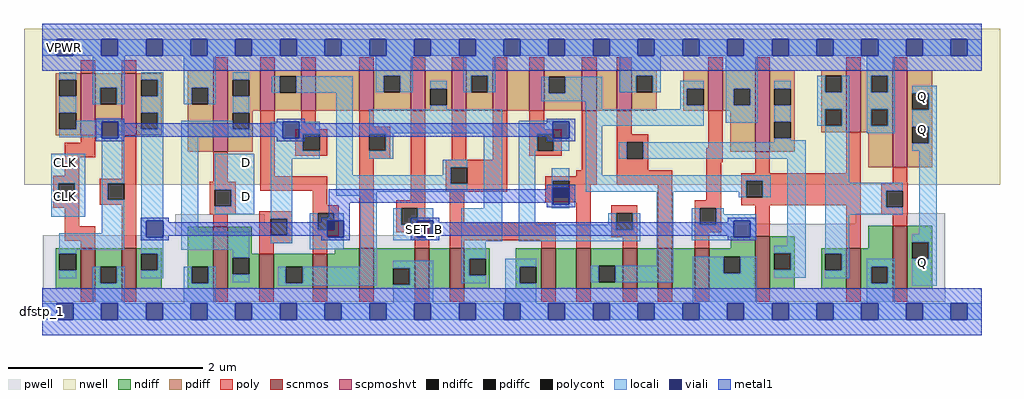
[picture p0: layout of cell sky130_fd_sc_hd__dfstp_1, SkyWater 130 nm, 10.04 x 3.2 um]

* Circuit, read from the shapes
.subckt sky130_fd_sc_hd__dfstp_1 VPWR VGND VPB VNB Q SET_B D CLK
XM1 VGND CLK n1 VNB sky130_fd_pr__nfet_01v8 w=0.42 l=0.15
XM2 n2 n1 VGND VNB sky130_fd_pr__nfet_01v8 w=0.42 l=0.15
XM3 n3 D VGND VNB sky130_fd_pr__nfet_01v8 w=0.64 l=0.15
XM4 n4 n1 n3 VNB sky130_fd_pr__nfet_01v8 w=0.36 l=0.15
XM5 n5 n2 n4 VNB sky130_fd_pr__nfet_01v8 w=0.36 l=0.15
XM6 VGND n6 n5 VNB sky130_fd_pr__nfet_01v8 w=0.42 l=0.15
XM7 n7 SET_B VGND VNB sky130_fd_pr__nfet_01v8 w=0.42 l=0.15
XM8 n6 n4 n7 VNB sky130_fd_pr__nfet_01v8 w=0.42 l=0.15
XM9 n8 n4 VGND VNB sky130_fd_pr__nfet_01v8 w=0.42 l=0.15
XM10 n9 n2 n8 VNB sky130_fd_pr__nfet_01v8 w=0.42 l=0.15
XM11 n10 n1 n9 VNB sky130_fd_pr__nfet_01v8 w=0.42 l=0.15
XM12 n11 n12 n10 VNB sky130_fd_pr__nfet_01v8 w=0.42 l=0.15
XM13 VGND SET_B n11 VNB sky130_fd_pr__nfet_01v8 w=0.42 l=0.15
XM14 n12 n9 VGND VNB sky130_fd_pr__nfet_01v8 w=0.54 l=0.15
XM15 VGND n9 n13 VNB sky130_fd_pr__nfet_01v8 w=0.42 l=0.15
XM16 Q n13 VGND VNB sky130_fd_pr__nfet_01v8 w=0.65 l=0.15
XM17 VPWR CLK n1 VPB sky130_fd_pr__pfet_01v8_hvt w=0.64 l=0.15
XM18 n2 n1 VPWR VPB sky130_fd_pr__pfet_01v8_hvt w=0.64 l=0.15
XM19 n3 D VPWR VPB sky130_fd_pr__pfet_01v8_hvt w=0.84 l=0.15
XM20 n4 n2 n3 VPB sky130_fd_pr__pfet_01v8_hvt w=0.42 l=0.15
XM21 n14 n1 n4 VPB sky130_fd_pr__pfet_01v8_hvt w=0.42 l=0.15
XM22 VPWR n6 n14 VPB sky130_fd_pr__pfet_01v8_hvt w=0.42 l=0.15
XM23 n6 SET_B VPWR VPB sky130_fd_pr__pfet_01v8_hvt w=0.42 l=0.15
XM24 VPWR n4 n6 VPB sky130_fd_pr__pfet_01v8_hvt w=0.42 l=0.15
XM25 n15 n4 VPWR VPB sky130_fd_pr__pfet_01v8_hvt w=0.42 l=0.15
XM26 n9 n1 n15 VPB sky130_fd_pr__pfet_01v8_hvt w=0.42 l=0.15
XM27 n16 n2 n9 VPB sky130_fd_pr__pfet_01v8_hvt w=0.42 l=0.15
XM28 VPWR n12 n16 VPB sky130_fd_pr__pfet_01v8_hvt w=0.42 l=0.15
XM29 VPWR SET_B n9 VPB sky130_fd_pr__pfet_01v8_hvt w=0.42 l=0.15
XM30 n12 n9 VPWR VPB sky130_fd_pr__pfet_01v8_hvt w=0.84 l=0.15
XM31 VPWR n9 n13 VPB sky130_fd_pr__pfet_01v8_hvt w=0.64 l=0.15
XM32 Q n13 VPWR VPB sky130_fd_pr__pfet_01v8_hvt w=1 l=0.15
.ends

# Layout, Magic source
magic
tech sky130B
magscale 1 2
<< nwell >>
rect -38 221 1970 542
<< pwell >>
rect 273 117 457 161
rect 1673 141 1857 163
rect 1390 117 1857 141
rect 1 -19 1857 117
rect 29 -57 63 -19
<< scnmos >>
rect 79 7 109 91
rect 163 7 193 91
rect 351 7 381 135
rect 446 7 476 79
rect 556 7 586 79
rect 652 7 682 91
rect 766 7 796 91
rect 838 7 868 91
rect 1026 7 1056 91
rect 1098 7 1128 91
rect 1194 7 1224 91
rect 1266 7 1296 91
rect 1342 7 1372 91
rect 1466 7 1496 115
rect 1654 7 1684 91
rect 1749 7 1779 137
<< scpmoshvt >>
rect 79 323 109 451
rect 163 323 193 451
rect 351 289 381 457
rect 448 373 478 457
rect 532 373 562 457
rect 652 373 682 457
rect 758 373 788 457
rect 842 373 872 457
rect 926 373 956 457
rect 1002 373 1032 457
rect 1110 373 1140 457
rect 1182 373 1212 457
rect 1370 373 1400 457
rect 1466 289 1496 457
rect 1654 329 1684 457
rect 1749 257 1779 457
<< ndiff >>
rect 27 79 79 91
rect 27 45 35 79
rect 69 45 79 79
rect 27 7 79 45
rect 109 53 163 91
rect 109 19 119 53
rect 153 19 163 53
rect 109 7 163 19
rect 193 79 245 91
rect 193 45 203 79
rect 237 45 245 79
rect 193 7 245 45
rect 299 53 351 135
rect 299 19 307 53
rect 341 19 351 53
rect 299 7 351 19
rect 381 79 431 135
rect 1416 91 1466 115
rect 601 79 652 91
rect 381 71 446 79
rect 381 37 391 71
rect 425 37 446 71
rect 381 7 446 37
rect 476 53 556 79
rect 476 19 501 53
rect 535 19 556 53
rect 476 7 556 19
rect 586 7 652 79
rect 682 49 766 91
rect 682 15 722 49
rect 756 15 766 49
rect 682 7 766 15
rect 796 7 838 91
rect 868 69 920 91
rect 868 35 878 69
rect 912 35 920 69
rect 868 7 920 35
rect 974 53 1026 91
rect 974 19 982 53
rect 1016 19 1026 53
rect 974 7 1026 19
rect 1056 7 1098 91
rect 1128 55 1194 91
rect 1128 21 1144 55
rect 1178 21 1194 55
rect 1128 7 1194 21
rect 1224 7 1266 91
rect 1296 7 1342 91
rect 1372 73 1466 91
rect 1372 39 1402 73
rect 1436 39 1466 73
rect 1372 7 1466 39
rect 1496 80 1548 115
rect 1699 91 1749 137
rect 1496 46 1506 80
rect 1540 46 1548 80
rect 1496 7 1548 46
rect 1602 79 1654 91
rect 1602 45 1610 79
rect 1644 45 1654 79
rect 1602 7 1654 45
rect 1684 53 1749 91
rect 1684 19 1705 53
rect 1739 19 1749 53
rect 1684 7 1749 19
rect 1779 103 1831 137
rect 1779 69 1789 103
rect 1823 69 1831 103
rect 1779 7 1831 69
<< pdiff >>
rect 27 437 79 451
rect 27 403 35 437
rect 69 403 79 437
rect 27 369 79 403
rect 27 335 35 369
rect 69 335 79 369
rect 27 323 79 335
rect 109 421 163 451
rect 109 387 119 421
rect 153 387 163 421
rect 109 323 163 387
rect 193 437 245 451
rect 193 403 203 437
rect 237 403 245 437
rect 193 369 245 403
rect 193 335 203 369
rect 237 335 245 369
rect 193 323 245 335
rect 299 421 351 457
rect 299 387 307 421
rect 341 387 351 421
rect 299 289 351 387
rect 381 437 448 457
rect 381 403 391 437
rect 425 403 448 437
rect 381 373 448 403
rect 478 444 532 457
rect 478 410 488 444
rect 522 410 532 444
rect 478 373 532 410
rect 562 373 652 457
rect 682 445 758 457
rect 682 411 702 445
rect 736 411 758 445
rect 682 373 758 411
rect 788 419 842 457
rect 788 385 798 419
rect 832 385 842 419
rect 788 373 842 385
rect 872 445 926 457
rect 872 411 882 445
rect 916 411 926 445
rect 872 373 926 411
rect 956 373 1002 457
rect 1032 443 1110 457
rect 1032 409 1042 443
rect 1076 409 1110 443
rect 1032 373 1110 409
rect 1140 373 1182 457
rect 1212 445 1264 457
rect 1212 411 1222 445
rect 1256 411 1264 445
rect 1212 373 1264 411
rect 1318 419 1370 457
rect 1318 385 1326 419
rect 1360 385 1370 419
rect 1318 373 1370 385
rect 1400 419 1466 457
rect 1400 385 1422 419
rect 1456 385 1466 419
rect 1400 373 1466 385
rect 381 369 433 373
rect 381 335 391 369
rect 425 335 433 369
rect 381 289 433 335
rect 1415 289 1466 373
rect 1496 419 1548 457
rect 1496 385 1506 419
rect 1540 385 1548 419
rect 1496 351 1548 385
rect 1496 317 1506 351
rect 1540 317 1548 351
rect 1602 445 1654 457
rect 1602 411 1610 445
rect 1644 411 1654 445
rect 1602 377 1654 411
rect 1602 343 1610 377
rect 1644 343 1654 377
rect 1602 329 1654 343
rect 1684 445 1749 457
rect 1684 411 1705 445
rect 1739 411 1749 445
rect 1684 377 1749 411
rect 1684 343 1705 377
rect 1739 343 1749 377
rect 1684 329 1749 343
rect 1496 289 1548 317
rect 1699 257 1749 329
rect 1779 409 1831 457
rect 1779 375 1789 409
rect 1823 375 1831 409
rect 1779 341 1831 375
rect 1779 307 1789 341
rect 1823 307 1831 341
rect 1779 257 1831 307
<< ndiffc >>
rect 35 45 69 79
rect 119 19 153 53
rect 203 45 237 79
rect 307 19 341 53
rect 391 37 425 71
rect 501 19 535 53
rect 722 15 756 49
rect 878 35 912 69
rect 982 19 1016 53
rect 1144 21 1178 55
rect 1402 39 1436 73
rect 1506 46 1540 80
rect 1610 45 1644 79
rect 1705 19 1739 53
rect 1789 69 1823 103
<< pdiffc >>
rect 35 403 69 437
rect 35 335 69 369
rect 119 387 153 421
rect 203 403 237 437
rect 203 335 237 369
rect 307 387 341 421
rect 391 403 425 437
rect 488 410 522 444
rect 702 411 736 445
rect 798 385 832 419
rect 882 411 916 445
rect 1042 409 1076 443
rect 1222 411 1256 445
rect 1326 385 1360 419
rect 1422 385 1456 419
rect 391 335 425 369
rect 1506 385 1540 419
rect 1506 317 1540 351
rect 1610 411 1644 445
rect 1610 343 1644 377
rect 1705 411 1739 445
rect 1705 343 1739 377
rect 1789 375 1823 409
rect 1789 307 1823 341
<< poly >>
rect 79 451 109 477
rect 163 451 193 477
rect 351 457 381 483
rect 448 457 478 483
rect 532 457 562 483
rect 652 457 682 483
rect 758 457 788 483
rect 842 457 872 483
rect 926 457 956 483
rect 1002 457 1032 483
rect 1110 457 1140 483
rect 1182 457 1212 483
rect 1370 457 1400 483
rect 1466 457 1496 483
rect 1654 457 1684 483
rect 1749 457 1779 483
rect 79 308 109 323
rect 46 278 109 308
rect 46 240 76 278
rect 22 224 76 240
rect 163 234 193 323
rect 22 190 32 224
rect 66 190 76 224
rect 22 174 76 190
rect 118 224 193 234
rect 351 227 381 289
rect 448 239 478 373
rect 532 335 562 373
rect 652 341 682 373
rect 520 325 586 335
rect 520 291 536 325
rect 570 291 586 325
rect 520 281 586 291
rect 652 325 716 341
rect 652 291 672 325
rect 706 291 716 325
rect 652 275 716 291
rect 118 190 134 224
rect 168 190 193 224
rect 118 180 193 190
rect 46 136 76 174
rect 46 106 109 136
rect 79 91 109 106
rect 163 91 193 180
rect 344 211 398 227
rect 344 177 354 211
rect 388 177 398 211
rect 448 209 586 239
rect 344 161 398 177
rect 556 179 586 209
rect 351 135 381 161
rect 446 151 514 167
rect 446 117 470 151
rect 504 117 514 151
rect 446 101 514 117
rect 556 163 610 179
rect 556 129 566 163
rect 600 129 610 163
rect 556 113 610 129
rect 446 79 476 101
rect 556 79 586 113
rect 652 91 682 275
rect 758 189 788 373
rect 842 273 872 373
rect 926 273 956 373
rect 1002 335 1032 373
rect 1002 325 1068 335
rect 1002 291 1018 325
rect 1052 291 1068 325
rect 1002 281 1068 291
rect 830 257 956 273
rect 830 223 840 257
rect 874 223 956 257
rect 1110 251 1140 373
rect 1098 239 1140 251
rect 830 207 956 223
rect 1034 229 1140 239
rect 728 173 788 189
rect 728 139 738 173
rect 772 153 788 173
rect 772 139 796 153
rect 728 123 796 139
rect 766 91 796 123
rect 838 143 868 207
rect 1034 195 1050 229
rect 1084 221 1140 229
rect 1182 325 1212 373
rect 1182 309 1246 325
rect 1182 275 1202 309
rect 1236 275 1246 309
rect 1370 297 1400 373
rect 1182 251 1246 275
rect 1366 267 1400 297
rect 1182 221 1296 251
rect 1084 195 1128 221
rect 1034 185 1128 195
rect 838 107 1056 143
rect 838 91 868 107
rect 1026 91 1056 107
rect 1098 91 1128 185
rect 1170 163 1224 179
rect 1170 129 1180 163
rect 1214 129 1224 163
rect 1170 113 1224 129
rect 1194 91 1224 113
rect 1266 91 1296 221
rect 1366 189 1396 267
rect 1466 245 1496 289
rect 1654 245 1684 329
rect 1342 173 1396 189
rect 1438 229 1684 245
rect 1438 195 1448 229
rect 1482 195 1684 229
rect 1749 225 1779 257
rect 1438 179 1684 195
rect 1342 139 1352 173
rect 1386 139 1396 173
rect 1342 123 1396 139
rect 1342 91 1372 123
rect 1466 115 1496 179
rect 1654 91 1684 179
rect 1726 209 1780 225
rect 1726 175 1736 209
rect 1770 175 1780 209
rect 1726 159 1780 175
rect 1749 137 1779 159
rect 79 -19 109 7
rect 163 -19 193 7
rect 351 -19 381 7
rect 446 -19 476 7
rect 556 -19 586 7
rect 652 -19 682 7
rect 766 -19 796 7
rect 838 -19 868 7
rect 1026 -19 1056 7
rect 1098 -19 1128 7
rect 1194 -19 1224 7
rect 1266 -19 1296 7
rect 1342 -19 1372 7
rect 1466 -19 1496 7
rect 1654 -19 1684 7
rect 1749 -19 1779 7
<< polycont >>
rect 32 190 66 224
rect 536 291 570 325
rect 672 291 706 325
rect 134 190 168 224
rect 354 177 388 211
rect 470 117 504 151
rect 566 129 600 163
rect 1018 291 1052 325
rect 840 223 874 257
rect 738 139 772 173
rect 1050 195 1084 229
rect 1202 275 1236 309
rect 1180 129 1214 163
rect 1448 195 1482 229
rect 1352 139 1386 173
rect 1736 175 1770 209
<< locali >>
rect 0 487 29 521
rect 63 487 121 521
rect 155 487 213 521
rect 247 487 305 521
rect 339 487 397 521
rect 431 487 489 521
rect 523 487 581 521
rect 615 487 673 521
rect 707 487 765 521
rect 799 487 857 521
rect 891 487 949 521
rect 983 487 1041 521
rect 1075 487 1133 521
rect 1167 487 1225 521
rect 1259 487 1317 521
rect 1351 487 1409 521
rect 1443 487 1501 521
rect 1535 487 1593 521
rect 1627 487 1685 521
rect 1719 487 1777 521
rect 1811 487 1869 521
rect 1903 487 1932 521
rect 35 437 69 453
rect 35 369 69 403
rect 103 421 169 487
rect 103 387 119 421
rect 153 387 169 421
rect 203 437 248 453
rect 237 403 248 437
rect 203 369 248 403
rect 291 421 357 487
rect 291 387 307 421
rect 341 387 357 421
rect 391 437 425 453
rect 686 445 762 487
rect 472 410 488 444
rect 522 410 638 444
rect 686 411 702 445
rect 736 411 762 445
rect 866 445 932 487
rect 798 419 832 435
rect 69 351 168 353
rect 69 335 122 351
rect 35 319 122 335
rect 156 317 168 351
rect 18 224 88 285
rect 18 190 32 224
rect 66 190 88 224
rect 18 155 88 190
rect 122 224 168 317
rect 122 190 134 224
rect 122 121 168 190
rect 35 87 168 121
rect 237 335 248 369
rect 391 369 425 403
rect 203 147 248 335
rect 203 113 214 147
rect 35 79 69 87
rect 203 79 248 113
rect 286 335 391 353
rect 286 319 425 335
rect 286 125 320 319
rect 470 317 494 351
rect 528 325 570 351
rect 528 317 536 325
rect 470 291 536 317
rect 354 211 436 285
rect 388 177 436 211
rect 354 161 436 177
rect 470 275 570 291
rect 470 151 514 275
rect 604 241 638 410
rect 866 411 882 445
rect 916 411 932 445
rect 1188 445 1272 487
rect 1026 409 1042 443
rect 1076 409 1152 443
rect 1188 411 1222 445
rect 1256 411 1272 445
rect 1312 419 1360 435
rect 1026 393 1152 409
rect 798 377 832 385
rect 1118 377 1152 393
rect 1312 385 1326 419
rect 1312 377 1360 385
rect 672 327 946 377
rect 672 325 722 327
rect 706 291 722 325
rect 672 275 722 291
rect 824 257 874 273
rect 824 241 840 257
rect 604 223 840 241
rect 604 207 874 223
rect 604 199 688 207
rect 286 87 425 125
rect 504 117 514 151
rect 470 101 514 117
rect 550 129 566 163
rect 600 147 620 163
rect 550 113 586 129
rect 550 89 620 113
rect 35 29 69 45
rect 103 19 119 53
rect 153 19 169 53
rect 237 45 248 79
rect 391 71 425 87
rect 203 29 248 45
rect 103 -23 169 19
rect 291 19 307 53
rect 341 19 357 53
rect 654 53 688 199
rect 908 173 946 327
rect 722 139 738 173
rect 772 147 804 173
rect 722 113 770 139
rect 722 107 804 113
rect 862 105 946 173
rect 980 351 1084 353
rect 980 325 1050 351
rect 980 291 1018 325
rect 1052 291 1084 317
rect 1118 343 1360 377
rect 1406 419 1472 487
rect 1696 445 1753 487
rect 1406 385 1422 419
rect 1456 385 1472 419
rect 1406 349 1472 385
rect 1506 419 1540 435
rect 1506 351 1540 385
rect 980 139 1014 291
rect 1048 229 1084 255
rect 1048 181 1050 229
rect 1118 241 1152 343
rect 1594 411 1610 445
rect 1644 411 1660 445
rect 1594 377 1660 411
rect 1594 343 1610 377
rect 1644 343 1660 377
rect 1506 313 1540 317
rect 1506 309 1570 313
rect 1186 275 1202 309
rect 1236 275 1570 309
rect 1118 229 1498 241
rect 1118 207 1448 229
rect 1048 173 1084 181
rect 1164 139 1180 163
rect 980 129 1180 139
rect 1214 129 1230 163
rect 980 105 1230 129
rect 862 69 912 105
rect 391 21 425 37
rect 291 -23 357 19
rect 485 19 501 53
rect 535 19 688 53
rect 485 13 688 19
rect 722 49 804 65
rect 756 15 804 49
rect 862 35 878 69
rect 862 19 912 35
rect 952 53 1016 69
rect 1264 55 1298 207
rect 1432 195 1448 207
rect 1482 195 1498 229
rect 1336 139 1352 173
rect 1386 161 1402 173
rect 1386 147 1468 161
rect 1386 139 1422 147
rect 1336 113 1422 139
rect 1456 113 1468 147
rect 1336 107 1468 113
rect 1532 96 1570 275
rect 1506 80 1570 96
rect 952 19 982 53
rect 1128 21 1144 55
rect 1178 21 1298 55
rect 1338 39 1402 73
rect 1436 39 1470 73
rect 722 -23 804 15
rect 952 -23 1016 19
rect 1338 -23 1470 39
rect 1540 46 1570 80
rect 1506 30 1570 46
rect 1610 225 1660 343
rect 1696 411 1705 445
rect 1739 411 1753 445
rect 1696 377 1753 411
rect 1696 343 1705 377
rect 1739 343 1753 377
rect 1696 327 1753 343
rect 1789 409 1840 425
rect 1823 375 1840 409
rect 1789 341 1840 375
rect 1823 307 1840 341
rect 1789 291 1840 307
rect 1610 209 1770 225
rect 1610 175 1736 209
rect 1610 159 1770 175
rect 1610 79 1660 159
rect 1804 119 1840 291
rect 1644 45 1660 79
rect 1789 103 1840 119
rect 1823 69 1840 103
rect 1610 29 1660 45
rect 1696 53 1753 69
rect 1696 19 1705 53
rect 1739 19 1753 53
rect 1696 -23 1753 19
rect 1789 13 1840 69
rect 0 -57 29 -23
rect 63 -57 121 -23
rect 155 -57 213 -23
rect 247 -57 305 -23
rect 339 -57 397 -23
rect 431 -57 489 -23
rect 523 -57 581 -23
rect 615 -57 673 -23
rect 707 -57 765 -23
rect 799 -57 857 -23
rect 891 -57 949 -23
rect 983 -57 1041 -23
rect 1075 -57 1133 -23
rect 1167 -57 1225 -23
rect 1259 -57 1317 -23
rect 1351 -57 1409 -23
rect 1443 -57 1501 -23
rect 1535 -57 1593 -23
rect 1627 -57 1685 -23
rect 1719 -57 1777 -23
rect 1811 -57 1869 -23
rect 1903 -57 1932 -23
<< viali >>
rect 29 487 63 521
rect 121 487 155 521
rect 213 487 247 521
rect 305 487 339 521
rect 397 487 431 521
rect 489 487 523 521
rect 581 487 615 521
rect 673 487 707 521
rect 765 487 799 521
rect 857 487 891 521
rect 949 487 983 521
rect 1041 487 1075 521
rect 1133 487 1167 521
rect 1225 487 1259 521
rect 1317 487 1351 521
rect 1409 487 1443 521
rect 1501 487 1535 521
rect 1593 487 1627 521
rect 1685 487 1719 521
rect 1777 487 1811 521
rect 1869 487 1903 521
rect 122 317 156 351
rect 214 113 248 147
rect 494 317 528 351
rect 586 129 600 147
rect 600 129 620 147
rect 586 113 620 129
rect 770 139 772 147
rect 772 139 804 147
rect 770 113 804 139
rect 1050 325 1084 351
rect 1050 317 1052 325
rect 1052 317 1084 325
rect 1050 195 1084 215
rect 1050 181 1084 195
rect 1422 113 1456 147
rect 29 -57 63 -23
rect 121 -57 155 -23
rect 213 -57 247 -23
rect 305 -57 339 -23
rect 397 -57 431 -23
rect 489 -57 523 -23
rect 581 -57 615 -23
rect 673 -57 707 -23
rect 765 -57 799 -23
rect 857 -57 891 -23
rect 949 -57 983 -23
rect 1041 -57 1075 -23
rect 1133 -57 1167 -23
rect 1225 -57 1259 -23
rect 1317 -57 1351 -23
rect 1409 -57 1443 -23
rect 1501 -57 1535 -23
rect 1593 -57 1627 -23
rect 1685 -57 1719 -23
rect 1777 -57 1811 -23
rect 1869 -57 1903 -23
<< metal1 >>
rect 0 521 1932 552
rect 0 487 29 521
rect 63 487 121 521
rect 155 487 213 521
rect 247 487 305 521
rect 339 487 397 521
rect 431 487 489 521
rect 523 487 581 521
rect 615 487 673 521
rect 707 487 765 521
rect 799 487 857 521
rect 891 487 949 521
rect 983 487 1041 521
rect 1075 487 1133 521
rect 1167 487 1225 521
rect 1259 487 1317 521
rect 1351 487 1409 521
rect 1443 487 1501 521
rect 1535 487 1593 521
rect 1627 487 1685 521
rect 1719 487 1777 521
rect 1811 487 1869 521
rect 1903 487 1932 521
rect 0 456 1932 487
rect 110 351 168 357
rect 110 317 122 351
rect 156 348 168 351
rect 482 351 540 357
rect 482 348 494 351
rect 156 320 494 348
rect 156 317 168 320
rect 110 311 168 317
rect 482 317 494 320
rect 528 348 540 351
rect 1038 351 1096 357
rect 1038 348 1050 351
rect 528 320 1050 348
rect 528 317 540 320
rect 482 311 540 317
rect 1038 317 1050 320
rect 1084 317 1096 351
rect 1038 311 1096 317
rect 1038 215 1096 221
rect 1038 212 1050 215
rect 589 184 1050 212
rect 589 153 632 184
rect 1038 181 1050 184
rect 1084 181 1096 215
rect 1038 175 1096 181
rect 202 147 260 153
rect 202 113 214 147
rect 248 144 260 147
rect 574 147 632 153
rect 574 144 586 147
rect 248 116 586 144
rect 248 113 260 116
rect 202 107 260 113
rect 574 113 586 116
rect 620 113 632 147
rect 574 107 632 113
rect 758 147 816 153
rect 758 113 770 147
rect 804 144 816 147
rect 1410 147 1468 153
rect 1410 144 1422 147
rect 804 116 1422 144
rect 804 113 816 116
rect 758 107 816 113
rect 1410 113 1422 116
rect 1456 113 1468 147
rect 1410 107 1468 113
rect 0 -23 1932 8
rect 0 -57 29 -23
rect 63 -57 121 -23
rect 155 -57 213 -23
rect 247 -57 305 -23
rect 339 -57 397 -23
rect 431 -57 489 -23
rect 523 -57 581 -23
rect 615 -57 673 -23
rect 707 -57 765 -23
rect 799 -57 857 -23
rect 891 -57 949 -23
rect 983 -57 1041 -23
rect 1075 -57 1133 -23
rect 1167 -57 1225 -23
rect 1259 -57 1317 -23
rect 1351 -57 1409 -23
rect 1443 -57 1501 -23
rect 1535 -57 1593 -23
rect 1627 -57 1685 -23
rect 1719 -57 1777 -23
rect 1811 -57 1869 -23
rect 1903 -57 1932 -23
rect 0 -88 1932 -57
<< labels >>
rlabel comment s 0 -40 0 -40 4 dfstp_1
flabel metal1 s 29 487 63 521 0 FreeSans 200 0 0 0 VPWR
port 2 nsew
flabel metal1 s 29 -57 63 -23 0 FreeSans 200 0 0 0 VGND
port 3 nsew
flabel nwell s 29 487 63 521 0 FreeSans 200 0 0 0 VPB
port 5 nsew
flabel nwell s 46 504 46 504 3 FreeSans 400 0 0 0 VPB
flabel pwell s 29 -57 63 -23 0 FreeSans 200 0 0 0 VNB
port 6 nsew
flabel pwell s 46 -40 46 -40 3 FreeSans 400 0 0 0 VNB
flabel locali s 402 249 436 283 0 FreeSans 200 0 0 0 D
port 9 nsew
flabel locali s 402 181 436 215 0 FreeSans 200 0 0 0 D
port 9 nsew
flabel locali s 29 487 63 521 3 FreeSans 400 0 0 0 VPWR
port 2 nsew
flabel locali s 1794 385 1828 419 0 FreeSans 400 0 0 0 Q
port 7 nsew
flabel locali s 1794 317 1828 351 0 FreeSans 400 0 0 0 Q
port 7 nsew
flabel locali s 1794 45 1828 79 0 FreeSans 400 0 0 0 Q
port 7 nsew
flabel locali s 770 113 804 147 0 FreeSans 400 0 0 0 SET_B
port 8 nsew
flabel locali s 30 249 64 283 0 FreeSans 400 0 0 0 CLK
port 10 nsew
flabel locali s 30 181 64 215 0 FreeSans 400 0 0 0 CLK
port 10 nsew
flabel locali s 29 -57 63 -23 3 FreeSans 400 0 0 0 VGND
port 3 nsew
<< properties >>
string FIXED_BBOX 0 -40 1932 504
<< end >>
